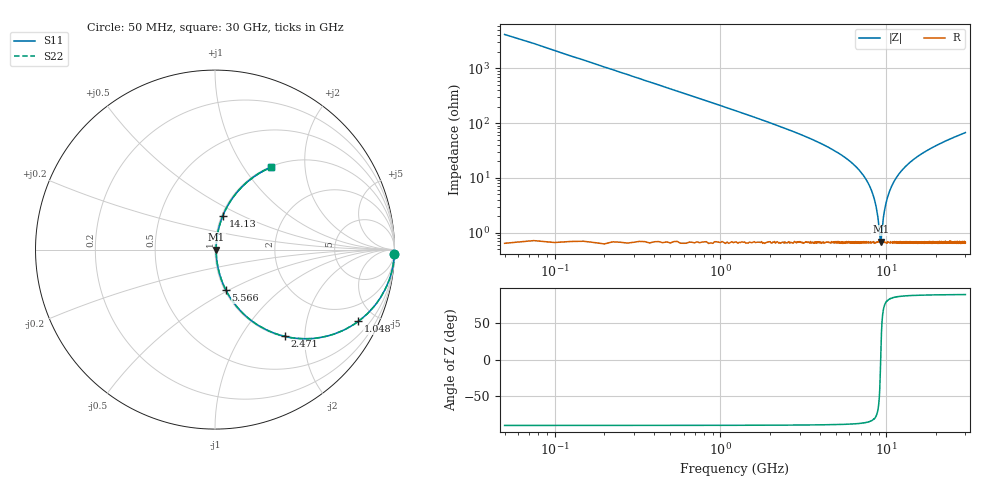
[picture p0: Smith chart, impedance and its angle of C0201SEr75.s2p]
!	AVX Thin Film Operation 	Date: April 2014
!	Description: Accu-P® Series, Thin Film  SMD RF Capacitor
!	Part Number: 02015JR75PBSTR
# MHZ S MA R 50
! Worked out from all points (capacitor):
!   1201 points, 50 MHz to 30 GHz, reference 50 ohm
!   read as one part in series: C = 750 fF near 199.8 MHz
!   lowest |Z| = 686 mohm at 9.26 GHz (marker M1)
!   series resonance near 9.251 GHz, so ESL is about 390 pH
!   S11 on the Smith chart (normalised r, x): 50 MHz: -0, -85; 1.048 GHz: 1.01, -4.00; 2.471 GHz: 1.01, -1.60; 5.566 GHz: 1.01, -0.49; 14.13 GHz: 1.01, +0.40; 30 GHz: 1.01, +1.35
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50  1 -1.4  0.024 88.6  0.024 88.6  1 -1.4
249.667  0.993 -6.7  0.117 83.2  0.117 83.2  0.993 -6.7
399.417  0.982 -10.7  0.185 79.3  0.185 79.3  0.982 -10.7
673.958  0.952 -17.7  0.304 72.2  0.304 72.2  0.952 -17.7
1048.333  0.893 -26.5  0.447 63.3  0.447 63.3  0.893 -26.5
2470.958  0.621 -51.1  0.779 38.4  0.779 38.4  0.621 -51.1
3594.083  0.446 -62.8  0.889 26.5  0.889 26.5  0.446 -62.8
5041.667  0.282 -72.3  0.953 16.4  0.953 16.4  0.282 -72.3
5565.792  0.235 -74.9  0.966 13.6  0.966 13.6  0.235 -74.9
7063.292  0.124 -79.9  0.986 7.1  0.986 7.1  0.124 -79.9
8061.625  0.063 -80.4  0.991 3.6  0.991 3.6  0.063 -80.4
8660.625  0.031 -75.9  0.993 1.7  0.993 1.7  0.031 -75.9
9259.625  0.00661 3.6  0.993 -0.0  0.993 -0.0  0.00661 3.6
9733.833  0.024 72.8  0.993 -1.3  0.993 -1.3  0.024 72.8
10058.29  0.039 78.0  0.993 -2.2  0.993 -2.2  0.039 78.0
10682.25  0.066 80.5  0.991 -3.8  0.991 -3.8  0.066 80.5
11505.88  0.1 80.5  0.988 -5.7  0.988 -5.7  0.1 80.5
14126.5  0.195 76.9  0.974 -11.2  0.974 -11.2  0.195 76.9
15025  0.224 75.4  0.968 -12.9  0.968 -12.9  0.224 75.4
20016.67  0.362 67.8  0.926 -21.2  0.926 -21.2  0.362 67.8
25033.29  0.47 61.3  0.877 -28.0  0.877 -28.0  0.47 61.3
30000  0.556 55.7  0.826 -33.8  0.826 -33.8  0.556 55.7
